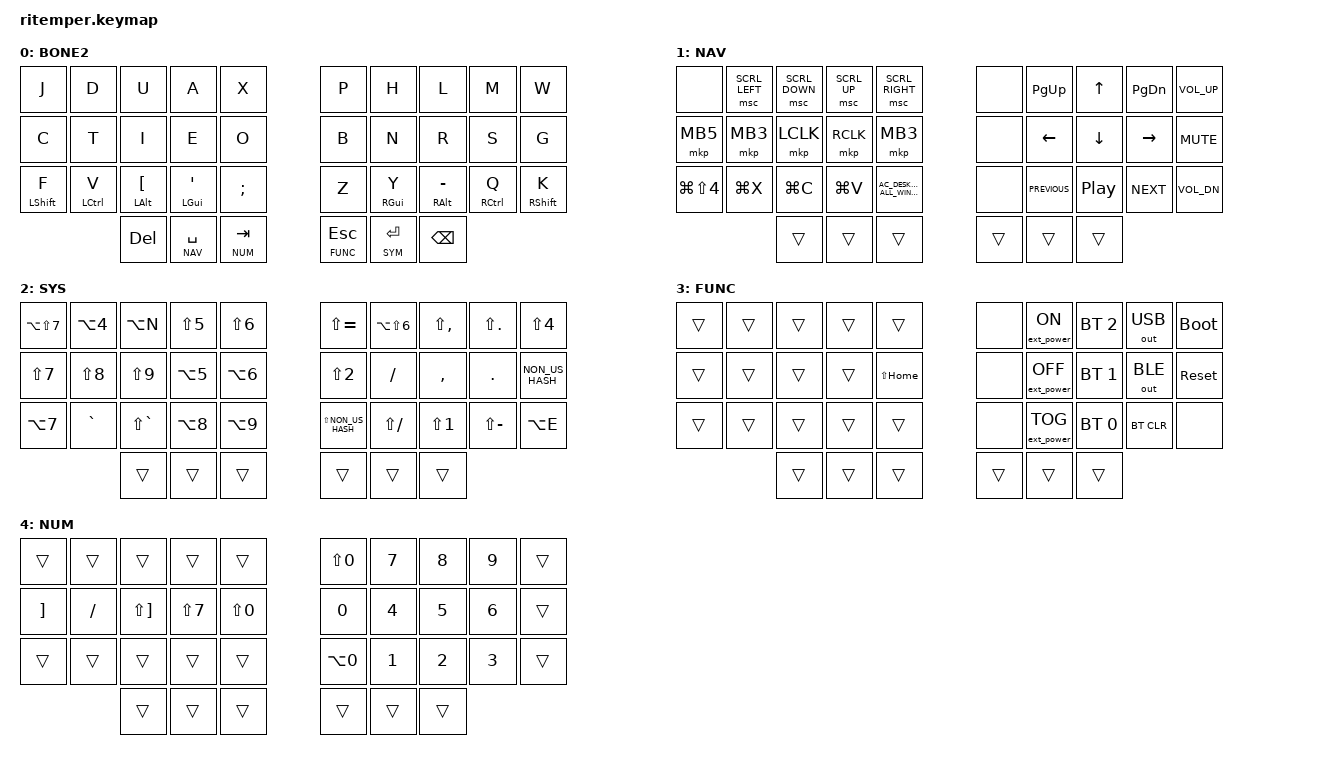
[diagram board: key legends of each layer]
#include <behaviors.dtsi>
#include <dt-bindings/zmk/bt.h>
#include <dt-bindings/zmk/keys.h>
#include <dt-bindings/zmk/outputs.h> 
#include <dt-bindings/zmk/ext_power.h>
#include <dt-bindings/zmk/input_transform.h>


#define ZMK_MOUSE_DEFAULT_SCRL_VAL 20    // 10
#include <dt-bindings/zmk/mouse.h>
#include <dt-bindings/zmk/pointing.h>

#define DEFAULT 0
#define NAV     1
#define SYM     2
#define FUNC    3
#define NUM     4

&caps_word { continue-list = <UNDERSCORE MINUS>; };
&mmv {
    acceleration-exponent = <1>;      // 1
    time-to-max-speed-ms = <500>;     // 300
    delay-ms = <0>;                   // 0
};
&msc {
    acceleration-exponent = <1>;      // 0
    time-to-max-speed-ms = <20>;      // 300
    delay-ms = <0>;                   // 0
};

&glidepoint_listener {
    scroller {
        layers = <NUM>;
        input-processors = <&zip_xy_transform (INPUT_TRANSFORM_Y_INVERT)>, <&zip_xy_to_scroll_mapper>, <&zip_scroll_scaler 1 16>;
        input-processors = <&zip_xy_transform (INPUT_TRANSFORM_Y_INVERT)>, <&zip_xy_to_scroll_mapper>, <&zip_scroll_scaler 1 16>;
    };
};


/ {
    combos {
        compatible = "zmk,combos";

        letf_m {
            timeout-ms = <50>;
            key-positions = <11 12>;
            bindings = <&mkp LCLK>;
        };
        rikht_m {
            timeout-ms = <50>;
            key-positions = <12 13>;
            bindings = <&mkp RCLK>;
        };
        escape{
            timeout-ms = <50>;
            key-positions = <1 2>;
            bindings = <&kp ESCAPE>;
        };
        enter{
            timeout-ms = <50>;
            key-positions = <2 3>;
            bindings = <&kp ENTER>;
        };  
    };
};

/ {
    behaviors {
        hm: homerow_mods {
            compatible = "zmk,behavior-hold-tap";
            #binding-cells = <2>;
            tapping-term-ms = <200>;
            flavor = "tap-preferred";
            bindings = <&kp>, <&kp>;
        };

        hs: homerow_shift {
            compatible = "zmk,behavior-hold-tap";
            #binding-cells = <2>;
            tapping-term-ms = <175>;
            flavor = "balanced";
            bindings = <&kp>, <&kp>;
        };        
    };

    keymap {
        compatible = "zmk,keymap";

        default_layer {
            display-name = "BONE2";
            bindings = <
&kp J         &kp D        &kp U       &kp A        &kp X      &kp P         &kp H        &kp L          &kp M        &kp W
&kp C    &kp T  &kp I  &kp E      &kp O               &kp B           &kp N      &kp R    &kp S  &kp G
&hs LSHIFT F  &hm LCTL V   &hm LALT LBKT    &hm LGUI SQT         &kp SEMI            &kp Z           &hm RGUI Y           &hm RALT MINUS     &hm RCTL Q       &hs RSHIFT K
                           &kp DEL  &lt NAV SPACE &lt NUM TAB       &lt FUNC  ESCAPE &lt SYM ENTER   &kp BACKSPACE
            >;
        };

        nav_layer {
            display-name = "NAV";
            bindings = <
&none      &msc SCRL_LEFT  &msc SCRL_DOWN  &msc SCRL_UP        &msc SCRL_RIGHT  &none           &kp PAGE_UP     &kp UP_ARROW    &kp PAGE_DOWN  &kp C_VOLUME_UP
&mkp MB5        &mkp MB3        &mkp LCLK           &mkp RCLK   &mkp MB3               &none           &kp LEFT_ARROW  &kp DOWN_ARROW  &kp RIGHT      &kp C_MUTE
 &kp LG(LS(N4)) &kp LG(X)  &kp LG(C) &kp LG(V)        &kp C_AC_DESKTOP_SHOW_ALL_WINDOWS        &none   &kp C_PREVIOUS  &kp C_PLAY_PAUSE    &kp C_NEXT              &kp C_VOL_DN
                                &trans              &trans                &trans  &trans          &trans          &trans
            >;
        };
        sym_layer {
            display-name = "SYS";
            bindings = <
&kp LA(LS(N7))  &kp LA(NUMBER_4)  &kp LA(N)         &kp LS(N5)  &kp LS(NUMBER_6)  &kp LS(EQUAL)        &kp LA(LS(N6))     &kp LS(COMMA)     &kp LS(DOT)    &kp LS(N4)
&kp LS(N7)   &kp LS(N8)        &kp LS(N9)        &kp LA(N5)  &kp LA(NUMBER_6)  &kp LS(NUMBER_2)     &kp SLASH      &kp COMMA         &kp DOT        &kp NON_US_HASH
&kp LA(N7)   &kp GRAVE         &kp LS(GRAVE)  &kp LA(N8)  &kp LA(N9)        &kp LS(NON_US_HASH)  &kp LS(SLASH)  &kp LS(NUMBER_1)  &kp LS(MINUS)  &kp LA(E)
                              &trans            &trans      &trans            &trans               &trans         &trans
            >;
        };

        func_layer {
            display-name = "FUNC";
            bindings = <
&trans             &trans     &trans &trans      &trans  &none &ext_power EP_ON  &bt BT_SEL 2        &out OUT_USB  &bootloader
&trans             &trans     &trans &trans      &kp LS(HOME)    &none &ext_power EP_OFF  &bt BT_SEL 1         &out OUT_BLE  &sys_reset
&trans             &trans     &trans &trans      &trans   &none &ext_power EP_TOG &bt BT_SEL 0      &bt BT_CLR &none
                             &trans        &trans         &trans        &trans           &trans     &trans
            >;
        };

        num_layer {
            display-name = "NUM";
            bindings = <
&trans             &trans     &trans                 &trans      &trans      &kp LS(N0)  &kp N7  &kp N8  &kp N9  &trans
&kp RIGHT_BRACKET  &kp SLASH  &kp LS(RIGHT_BRACKET)  &kp LS(N7)  &kp LS(N0)  &kp N0      &kp N4  &kp N5  &kp N6  &trans
&trans             &trans     &trans                 &trans      &trans  &kp LA(N0)           &kp N1  &kp N2  &kp N3  &trans
                              &trans                 &trans      &trans      &trans      &trans  &trans
            >;
        };
    };
};

